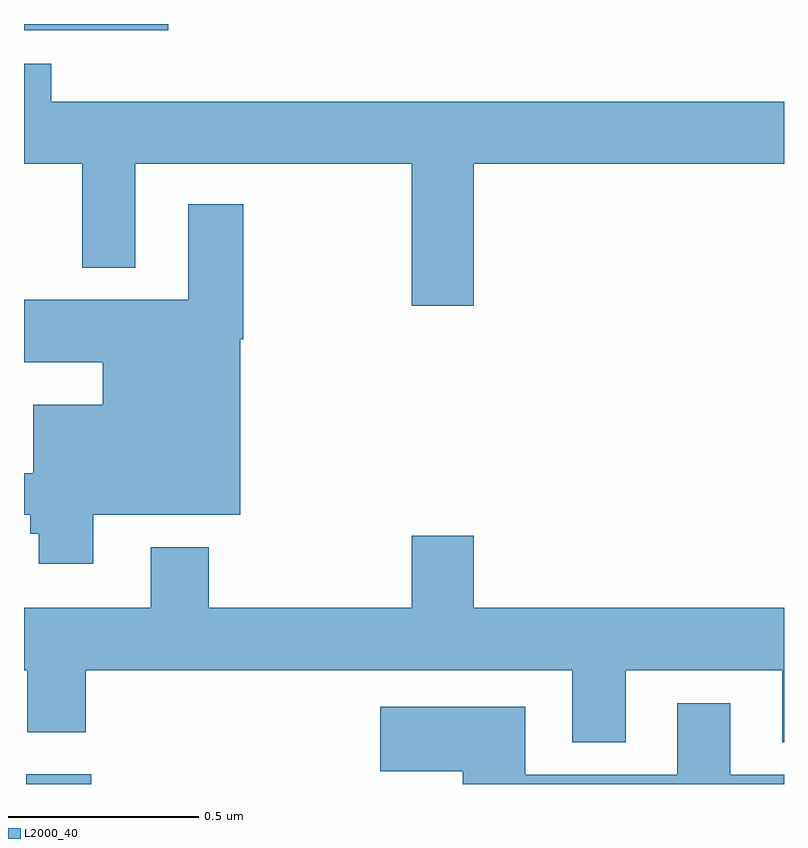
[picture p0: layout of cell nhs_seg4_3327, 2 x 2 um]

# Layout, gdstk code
import gdstk
lib = gdstk.Library(unit=1e-6, precision=1e-09)
def R(c, l, rs):  # rectangles x0, y0, x1, y1
    for r in rs: c.add(gdstk.rectangle(r[:2], r[2:], *l))
def P(c, l, *ps):  # polygons
    for p in ps: c.add(gdstk.Polygon(p, *l))
L2000_40 = (2000, 40)

nhs_seg4_3327 = lib.new_cell('nhs_seg4_3327')
R(nhs_seg4_3327, L2000_40, [(152.006,749.9,152.177,749.926), (152,751.884,152.38,751.9)])
P(nhs_seg4_3327, L2000_40, [(153.184,751.532),(154,751.532),(154,751.696),(152.072,751.696),(152.072,751.795),(152,751.795),(152,751.532),(152.153,751.532),(152.153,751.259),(152.293,751.259),(152.293,751.532),(153.02,751.532),(153.02,751.158),(153.184,751.158)],
  [(152.182,750.608),(152.569,750.608),(152.569,751.07),(152.577,751.07),(152.577,751.426),(152.432,751.426),(152.432,751.174),(152,751.174),(152,751.01),(152.207,751.01),(152.207,750.898),(152.024,750.898),(152.024,750.718),(152,750.718),(152,750.609),(152.017,750.609),(152.017,750.558),(152.039,750.558),(152.039,750.48),(152.182,750.48)],
  [(153.583,750.2),(153.995,750.2),(153.995,750.01),(154,750.01),(154,750.364),(153.184,750.364),(153.184,750.553),(153.02,750.553),(153.02,750.364),(152.486,750.364),(152.486,750.523),(152.333,750.523),(152.333,750.364),(152,750.364),(152,750.2),(152.009,750.2),(152.009,750.036),(152.162,750.036),(152.162,750.2),(153.443,750.2),(153.443,750.01),(153.583,750.01)],
  [(154,749.925),(153.859,749.925),(153.859,750.112),(153.719,750.112),(153.719,749.925),(153.319,749.925),(153.319,750.103),(152.937,750.103),(152.937,749.933),(153.155,749.933),(153.155,749.9),(154,749.9)])

lib.write_gds('nhs_seg4_3327.gds')
